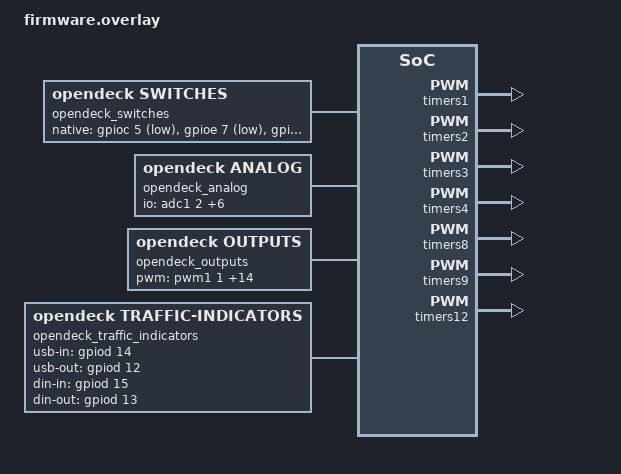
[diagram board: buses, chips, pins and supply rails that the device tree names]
/ {
    opendeck_metadata: opendeck-metadata {
        compatible = "opendeck,metadata";
        zephyr-board = "stm32f4_disco/stm32f407xx";
    };

    opendeck_transports: opendeck-transports {
        compatible = "opendeck,transports";
        uart = <&opendeck_uart_din_midi>;
        usb;
    };

    opendeck_tests: opendeck-tests {
        compatible = "opendeck,tests";
        host;
    };

    opendeck_bulk_build: opendeck-bulk-build {
        compatible = "opendeck,bulk-build";
        app;
    };

    opendeck_switches: opendeck-switches {
        compatible = "opendeck,switches";
        mode = "native";
        native-gpios =
            <&gpioc 5 (GPIO_PULL_UP | GPIO_ACTIVE_LOW)>,
            <&gpioe 7 (GPIO_PULL_UP | GPIO_ACTIVE_LOW)>,
            <&gpioe 15 (GPIO_PULL_UP | GPIO_ACTIVE_LOW)>,
            <&gpioc 6 (GPIO_PULL_UP | GPIO_ACTIVE_LOW)>,
            <&gpiod 11 (GPIO_PULL_UP | GPIO_ACTIVE_LOW)>,
            <&gpioe 8 (GPIO_PULL_UP | GPIO_ACTIVE_LOW)>,
            <&gpioe 10 (GPIO_PULL_UP | GPIO_ACTIVE_LOW)>,
            <&gpioe 12 (GPIO_PULL_UP | GPIO_ACTIVE_LOW)>,
            <&gpiob 12 (GPIO_PULL_UP | GPIO_ACTIVE_LOW)>,
            <&gpiod 10 (GPIO_PULL_UP | GPIO_ACTIVE_LOW)>,
            <&gpioc 11 (GPIO_PULL_UP | GPIO_ACTIVE_LOW)>,
            <&gpioe 4 (GPIO_PULL_UP | GPIO_ACTIVE_LOW)>,
            <&gpioe 2 (GPIO_PULL_UP | GPIO_ACTIVE_LOW)>,
            <&gpioe 0 (GPIO_PULL_UP | GPIO_ACTIVE_LOW)>,
            <&gpiod 7 (GPIO_PULL_UP | GPIO_ACTIVE_LOW)>,
            <&gpiod 3 (GPIO_PULL_UP | GPIO_ACTIVE_LOW)>,
            <&gpioc 13 (GPIO_PULL_UP | GPIO_ACTIVE_LOW)>,
            <&gpiod 6 (GPIO_PULL_UP | GPIO_ACTIVE_LOW)>;
    };

    opendeck_analog: opendeck-analog {
        compatible = "opendeck,analog";
        mode = "native";
        io-channels =
            <&adc1 2>,
            <&adc1 3>,
            <&adc1 8>,
            <&adc1 9>,
            <&adc1 11>,
            <&adc1 12>,
            <&adc1 14>;
    };

    opendeck_outputs: opendeck-outputs {
        compatible = "opendeck,outputs";
        mode = "pwm";
        pwms =
            <&pwm1 1 PWM_MSEC(1) PWM_POLARITY_NORMAL>,
            <&pwm1 2 PWM_MSEC(1) PWM_POLARITY_NORMAL>,
            <&pwm1 3 PWM_MSEC(1) PWM_POLARITY_NORMAL>,
            <&pwm1 4 PWM_MSEC(1) PWM_POLARITY_NORMAL>,
            <&pwm2 1 PWM_MSEC(1) PWM_POLARITY_NORMAL>,
            <&pwm2 2 PWM_MSEC(1) PWM_POLARITY_NORMAL>,
            <&pwm3 1 PWM_MSEC(1) PWM_POLARITY_NORMAL>,
            <&pwm3 2 PWM_MSEC(1) PWM_POLARITY_NORMAL>,
            <&pwm4 2 PWM_MSEC(1) PWM_POLARITY_NORMAL>,
            <&pwm4 3 PWM_MSEC(1) PWM_POLARITY_NORMAL>,
            <&pwm8 3 PWM_MSEC(1) PWM_POLARITY_NORMAL>,
            <&pwm9 1 PWM_MSEC(1) PWM_POLARITY_NORMAL>,
            <&pwm9 2 PWM_MSEC(1) PWM_POLARITY_NORMAL>,
            <&pwm12 1 PWM_MSEC(1) PWM_POLARITY_NORMAL>,
            <&pwm12 2 PWM_MSEC(1) PWM_POLARITY_NORMAL>;
    };

    opendeck_touchscreen: opendeck-touchscreen {
        compatible = "opendeck,touchscreen";
        component-count = <64>;
        uart = <&opendeck_uart_touchscreen>;
    };

    opendeck_traffic_indicators: opendeck-traffic-indicators {
        compatible = "opendeck,traffic-indicators";
        usb-in-gpios = <&gpiod 14 GPIO_ACTIVE_HIGH>;
        usb-out-gpios = <&gpiod 12 GPIO_ACTIVE_HIGH>;
        din-in-gpios = <&gpiod 15 GPIO_ACTIVE_HIGH>;
        din-out-gpios = <&gpiod 13 GPIO_ACTIVE_HIGH>;
    };

    opendeck_display: opendeck-display {
        compatible = "opendeck,display-i2c";
        i2c = <&opendeck_i2c_display>;
    };
};

opendeck_uart_din_midi: &usart3 {};

opendeck_uart_touchscreen: &usart3 {};

opendeck_i2c_display: &i2c3 {};

&timers1 {
    status = "okay";

    pwm1: pwm {
        status = "okay";
        pinctrl-0 = <&tim1_ch1_pe9 &tim1_ch2_pe11 &tim1_ch3_pe13 &tim1_ch4_pe14>;
        pinctrl-names = "default";
    };
};

&timers2 {
    status = "okay";

    pwm2: pwm {
        status = "okay";
        pinctrl-0 = <&tim2_ch1_pa15 &tim2_ch2_pa1>;
        pinctrl-names = "default";
    };
};

&timers3 {
    status = "okay";

    pwm3: pwm {
        status = "okay";
        pinctrl-0 = <&tim3_ch1_pb4 &tim3_ch2_pb5>;
        pinctrl-names = "default";
    };
};

&timers4 {
    status = "okay";

    pwm4: pwm {
        status = "okay";
        pinctrl-0 = <&tim4_ch2_pb7 &tim4_ch3_pb8>;
        pinctrl-names = "default";
    };
};

&timers8 {
    status = "okay";

    pwm8: pwm {
        status = "okay";
        pinctrl-0 = <&tim8_ch3_pc8>;
        pinctrl-names = "default";
    };
};

&timers9 {
    status = "okay";

    pwm9: pwm {
        status = "okay";
        pinctrl-0 = <&tim9_ch1_pe5 &tim9_ch2_pe6>;
        pinctrl-names = "default";
    };
};

&timers12 {
    status = "okay";

    pwm12: pwm {
        status = "okay";
        pinctrl-0 = <&tim12_ch1_pb14 &tim12_ch2_pb15>;
        pinctrl-names = "default";
    };
};
